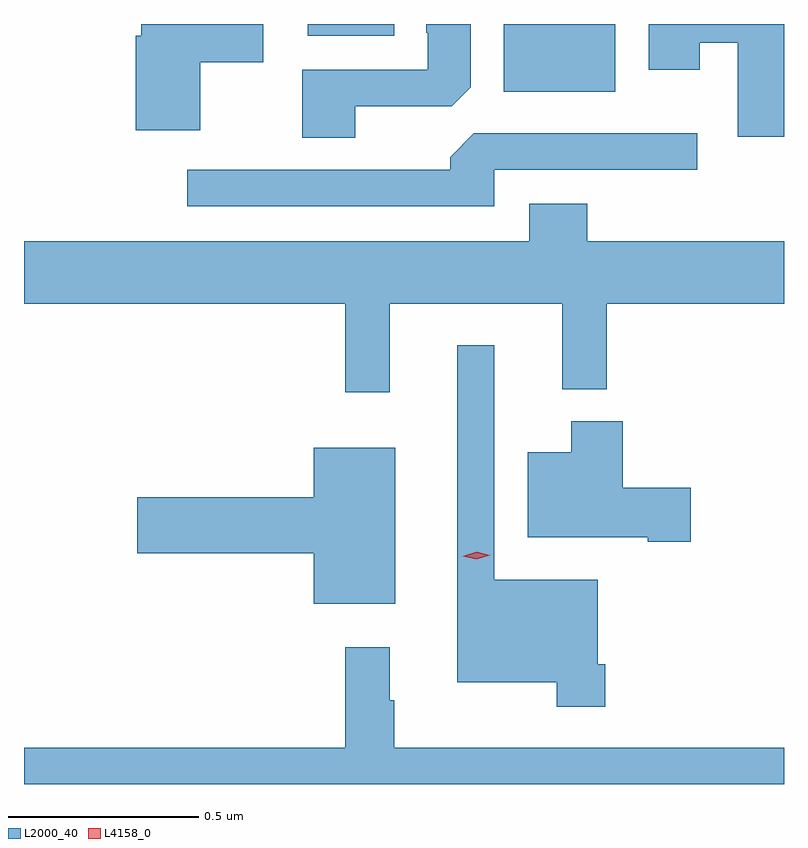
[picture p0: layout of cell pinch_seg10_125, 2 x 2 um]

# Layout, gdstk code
import gdstk
lib = gdstk.Library(unit=1e-6, precision=1e-09)
def R(c, l, rs):  # rectangles x0, y0, x1, y1
    for r in rs: c.add(gdstk.rectangle(r[:2], r[2:], *l))
def P(c, l, *ps):  # polygons
    for p in ps: c.add(gdstk.Polygon(p, *l))
L2000_40 = (2000, 40)
L4158_0 = (4158, 0)

pinch_seg10_125 = lib.new_cell('pinch_seg10_125')
R(pinch_seg10_125, L2000_40, [(717.971,1278.23,718.264,1278.408), (717.455,1278.377,717.682,1278.408)])
P(pinch_seg10_125, L2000_40, [(718.708,1278.408),(718.352,1278.408),(718.352,1278.288),(718.486,1278.288),(718.486,1278.359),(718.586,1278.359),(718.586,1278.111),(718.708,1278.111)],
  [(717.172,1278.308),(717.337,1278.308),(717.337,1278.408),(717.017,1278.408),(717.017,1278.377),(717.002,1278.377),(717.002,1278.129),(717.172,1278.129)],
  [(717.58,1278.192),(717.834,1278.192),(717.883,1278.241),(717.883,1278.408),(717.767,1278.408),(717.767,1278.385),(717.771,1278.385),(717.771,1278.288),(717.44,1278.288),(717.44,1278.109),(717.58,1278.109)],
  [(717.945,1278.024),(718.48,1278.024),(718.48,1278.12),(717.891,1278.12),(717.83,1278.058),(717.83,1278.024),(717.138,1278.024),(717.138,1277.928),(717.945,1277.928)],
  [(717.671,1277.672),(718.124,1277.672),(718.124,1277.447),(718.241,1277.447),(718.241,1277.672),(718.708,1277.672),(718.708,1277.836),(718.19,1277.836),(718.19,1277.935),(718.037,1277.935),(718.037,1277.836),(716.708,1277.836),(716.708,1277.672),(717.553,1277.672),(717.553,1277.439),(717.671,1277.439)],
  [(718.238,1276.723),(718.218,1276.723),(718.218,1276.945),(717.945,1276.945),(717.945,1277.563),(717.848,1277.563),(717.848,1276.676),(718.11,1276.676),(718.11,1276.611),(718.238,1276.611)],
  [(718.462,1277.187),(718.283,1277.187),(718.283,1277.362),(718.148,1277.362),(718.148,1277.281),(718.034,1277.281),(718.034,1277.057),(718.349,1277.057),(718.349,1277.045),(718.462,1277.045)],
  [(717.685,1277.293),(717.47,1277.293),(717.47,1277.162),(717.006,1277.162),(717.006,1277.015),(717.47,1277.015),(717.47,1276.883),(717.685,1276.883)],
  [(718.708,1276.504),(717.682,1276.504),(717.682,1276.628),(717.67,1276.628),(717.67,1276.768),(717.553,1276.768),(717.553,1276.504),(716.708,1276.504),(716.708,1276.408),(718.708,1276.408)])
P(pinch_seg10_125, L4158_0, [(717.899,1276.999),(717.863,1277.007),(717.863,1277.008),(717.863,1277.008),(717.899,1277.019),(717.934,1277.01),(717.935,1277.01),(717.934,1277.01)])

lib.write_gds('pinch_seg10_125.gds')
